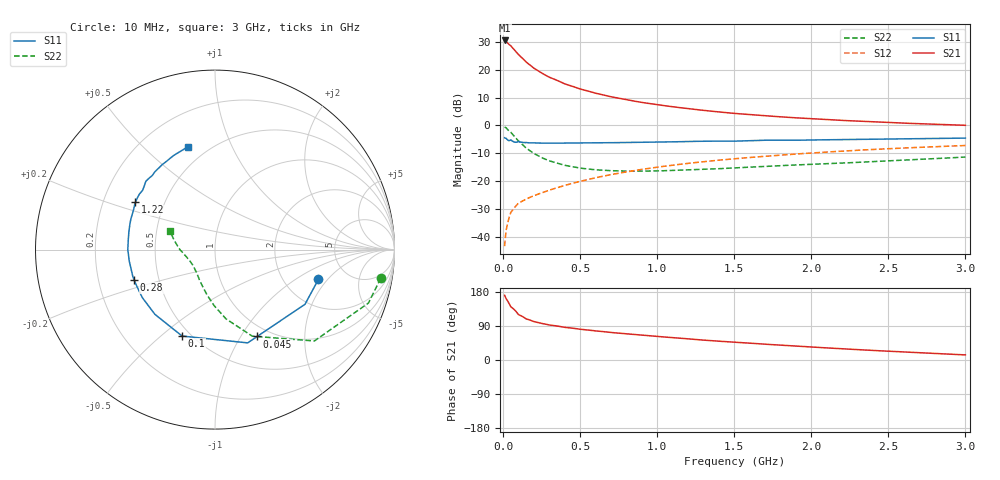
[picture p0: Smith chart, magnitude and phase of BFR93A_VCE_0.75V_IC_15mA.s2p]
! Infineon Technologies  Discrete & RF Semiconductors
! BFR93A
! VCE = 0.75 V,  IC =  15 mA
! Common Emitter S-Parameters:  Nov 2015
# GHz  S  MA  R  50
!  f  S11  S21  S12  S22
! GHz  MAG  ANG  MAG  ANG  MAG  ANG  MAG  ANG
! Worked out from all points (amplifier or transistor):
!   180 points, 10 MHz to 3 GHz, reference 50 ohm
!   highest |S21| = 30.5 dB at 10 MHz (marker M1)
!   |S21| within 3 dB of that: start of sweep to 67.5 MHz
!   unconditionally stable (mu >= 1): 398.1 MHz to end of sweep
!   at 160 MHz: K = 0.66, MSG = 24.2 dB, |S12| = -26.2 dB
!   at 1.22 GHz: K = 1.11, MAG = 7.6 dB, |S12| = -13.5 dB
!   at 3 GHz: K = 1.04, MAG = 2.5 dB, |S12| = -7.2 dB
!   S11 on the Smith chart (normalised r, x): 10 MHz: 3.09, -1.60; 45 MHz: 0.87, -1.18; 100 MHz: 0.45, -0.59; 280 MHz: 0.36, -0.16; 1.22 GHz: 0.34, +0.24; 3 GHz: 0.39, +0.69
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0.01  0.5997 -16.1  33.42 170.6  0.0068 83.5  0.9371 -9.8
0.02  0.5866 -31.3  32.22 161.8  0.0131 76.2  0.9054 -19.2
0.045  0.538 -64.1  27.44 144.6  0.025 64.3  0.7677 -38.1
0.05  0.5506 -70.7  26.84 140.5  0.0274 63.2  0.7522 -42.6
0.1  0.5153 -110.8  18.65 119.8  0.0402 53.6  0.5251 -66.7
0.15  0.4922 -132.8  13.63 108.4  0.0477 52.1  0.3914 -80.9
0.2  0.4854 -146.4  10.63 101.5  0.0547 53.3  0.3128 -90.8
0.24  0.4812 -153.8  9.062 97.6  0.0601 54.4  0.2733 -96.9
0.28  0.481 -159.4  7.858 94.2  0.0658 56.0  0.2439 -102.3
0.3  0.4818 -161.8  7.318 92.4  0.0687 56.7  0.2312 -105.1
0.4  0.482 -172.4  5.562 86.2  0.0836 59.1  0.1923 -116.3
0.5  0.4858 179.9  4.502 81.2  0.099 60.4  0.1712 -124.6
0.52  0.4855 178.7  4.357 80.4  0.1021 60.5  0.1687 -126.1
0.6  0.4862 174.0  3.784 76.8  0.1147 60.9  0.1598 -132.3
0.7  0.4892 169.3  3.266 72.6  0.1308 61.0  0.154 -138.7
0.8  0.4933 164.9  2.881 68.9  0.1463 60.6  0.1511 -144.5
1.02  0.502 156.1  2.309 61.5  0.1809 58.9  0.1528 -154.6
1.22  0.5158 149.3  1.971 55.2  0.2112 56.6  0.16 -162.3
1.52  0.5229 140.2  1.625 46.4  0.2546 53.0  0.1741 -171.3
2.02  0.5486 127.1  1.307 33.8  0.3222 46.3  0.2012 177.6
2.52  0.5674 115.9  1.122 22.7  0.3836 38.8  0.2318 167.5
3  0.5917 105.0  1.003 13.5  0.4355 31.6  0.2704 157.5
